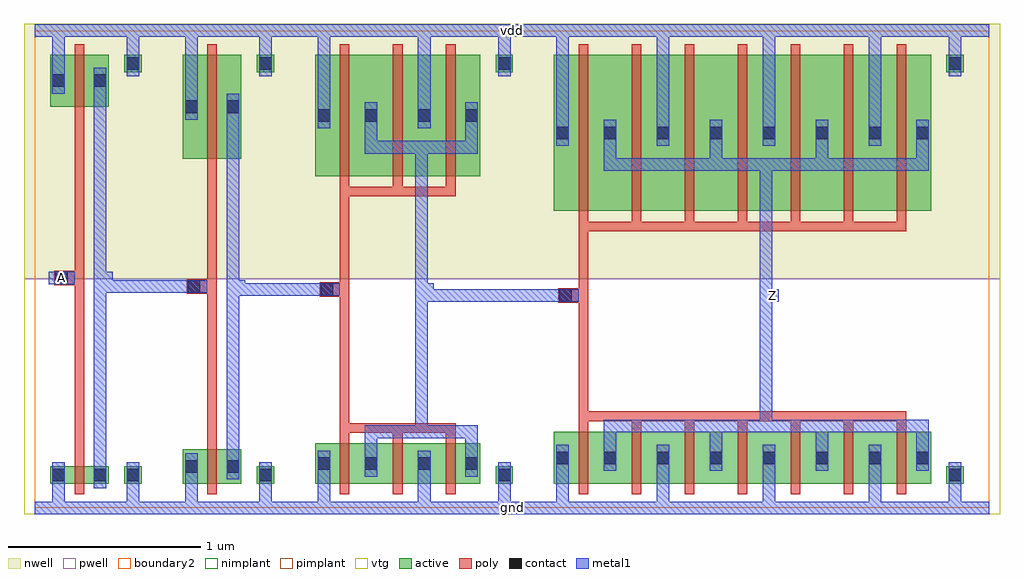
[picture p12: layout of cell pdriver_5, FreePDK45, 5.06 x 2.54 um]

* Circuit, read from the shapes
.subckt pdriver_5 A Z gnd vdd
M1 pinv_13_1/A A gnd gnd nfet w=0.09u l=0.05u
M2 pinv_14_2/A pinv_13_1/A gnd gnd nfet w=0.18u l=0.05u
M3 pinv_15_3/A pinv_14_2/A gnd gnd nfet w=0.21u l=0.05u m=3
M4 Z pinv_15_3/A gnd gnd nfet w=0.27u l=0.05u m=7
M5 pinv_13_1/A A vdd vdd pfet w=0.27u l=0.05u
M6 pinv_14_2/A pinv_13_1/A vdd vdd pfet w=0.54u l=0.05u
M7 pinv_15_3/A pinv_14_2/A vdd vdd pfet w=0.63u l=0.05u m=3
M8 Z pinv_15_3/A vdd vdd pfet w=0.81u l=0.05u m=7
.ends

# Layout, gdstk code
import gdstk
lib = gdstk.Library(unit=1e-6, precision=5e-10)
def R(c, l, rs):  # rectangles x0, y0, x1, y1
    for r in rs: c.add(gdstk.rectangle(r[:2], r[2:], *l))
def A(c, l, x, y, w, h, nx, ny, dx, dy):  # array of equal rectangles
    R(c, l, [(x+i*dx, y+j*dy, x+i*dx+w, y+j*dy+h) for i in range(nx) for j in range(ny)])
active = (1, 0)
pwell = (2, 0)
nwell = (3, 0)
nimplant = (4, 0)
pimplant = (5, 0)
vtg = (6, 0)
poly = (9, 0)
contact = (10, 0)
metal1 = (11, 0)
boundary2 = (239, 0)

contact_10 = lib.new_cell('contact_10')
R(contact_10, active, [(0,0.0225,0.09,0.1125)])
R(contact_10, nwell, [(-0.055,-0.0325,0.145,0.1675)])
R(contact_10, pimplant, [(0,0.0225,0.09,0.1125)])
R(contact_10, contact, [(0.0125,0.035,0.0775,0.1)])
R(contact_10, metal1, [(0.0125,0,0.0775,0.135)])
R(contact_10, boundary2, [(-0.055,-0.0325,0.145,0.1675)])

pmos_m1_w0_270_sm1_dm1_d = lib.new_cell('pmos_m1_w0_270_sm1_dm1_da_p')
R(pmos_m1_w0_270_sm1_dm1_d, active, [(0,0,0.305,0.27)])
R(pmos_m1_w0_270_sm1_dm1_d, nwell, [(-0.08,-0.08,0.385,0.35)])
R(pmos_m1_w0_270_sm1_dm1_d, pimplant, [(0,0,0.305,0.27)])
R(pmos_m1_w0_270_sm1_dm1_d, vtg, [(-0.08,-0.08,0.385,0.35)])
R(pmos_m1_w0_270_sm1_dm1_d, poly, [(0.1275,-0.055,0.1775,0.325), (0.1275,-0.055,0.1775,0.325)])
R(pmos_m1_w0_270_sm1_dm1_d, metal1, [(0.0125,0.0675,0.0775,0.2025), (0.2275,0.0675,0.2925,0.2025)])
R(pmos_m1_w0_270_sm1_dm1_d, boundary2, [(-0.08,-0.08,0.385,0.35)])
pmos_m1_w0_270_sm1_dm1_d.add(gdstk.Reference(contact_10, (0,0.0675)))
pmos_m1_w0_270_sm1_dm1_d.add(gdstk.Reference(contact_10, (0.215,0.0675)))
pmos_m1_w0_270_sm1_dm1_d.add(gdstk.Label('S', (0.045,0.135), layer=11, texttype=0))
pmos_m1_w0_270_sm1_dm1_d.add(gdstk.Label('D', (0.26,0.135), layer=11, texttype=0))
pmos_m1_w0_270_sm1_dm1_d.add(gdstk.Label('G', (0.1525,0.135), layer=9, texttype=0))

contact_9 = lib.new_cell('contact_9')
R(contact_9, active, [(0,0.0225,0.09,0.1125)])
R(contact_9, pwell, [(-0.055,-0.0325,0.145,0.1675)])
R(contact_9, nimplant, [(0,0.0225,0.09,0.1125)])
R(contact_9, contact, [(0.0125,0.035,0.0775,0.1)])
R(contact_9, metal1, [(0.0125,0,0.0775,0.135)])
R(contact_9, boundary2, [(-0.055,-0.0325,0.145,0.1675)])

nmos_m1_w0_090_sm1_dm1_d = lib.new_cell('nmos_m1_w0_090_sm1_dm1_da_p')
R(nmos_m1_w0_090_sm1_dm1_d, active, [(0,0,0.305,0.09)])
R(nmos_m1_w0_090_sm1_dm1_d, pwell, [(-0.08,-0.08,0.385,0.17)])
R(nmos_m1_w0_090_sm1_dm1_d, nimplant, [(0,0,0.305,0.09)])
R(nmos_m1_w0_090_sm1_dm1_d, vtg, [(-0.08,-0.08,0.385,0.17)])
R(nmos_m1_w0_090_sm1_dm1_d, poly, [(0.1275,-0.055,0.1775,0.145), (0.1275,-0.055,0.1775,0.145)])
R(nmos_m1_w0_090_sm1_dm1_d, metal1, [(0.0125,-0.0225,0.0775,0.1125), (0.2275,-0.0225,0.2925,0.1125)])
R(nmos_m1_w0_090_sm1_dm1_d, boundary2, [(-0.08,-0.08,0.385,0.17)])
nmos_m1_w0_090_sm1_dm1_d.add(gdstk.Reference(contact_9, (0,-0.0225)))
nmos_m1_w0_090_sm1_dm1_d.add(gdstk.Reference(contact_9, (0.215,-0.0225)))
nmos_m1_w0_090_sm1_dm1_d.add(gdstk.Label('S', (0.045,0.045), layer=11, texttype=0))
nmos_m1_w0_090_sm1_dm1_d.add(gdstk.Label('D', (0.26,0.045), layer=11, texttype=0))
nmos_m1_w0_090_sm1_dm1_d.add(gdstk.Label('G', (0.1525,0.045), layer=9, texttype=0))

contact_11 = lib.new_cell('contact_11')
R(contact_11, active, [(0,0.0225,0.09,0.1125)])
R(contact_11, nwell, [(-0.055,-0.0325,0.145,0.1675)])
R(contact_11, nimplant, [(0,0.0225,0.09,0.1125)])
R(contact_11, contact, [(0.0125,0.035,0.0775,0.1)])
R(contact_11, metal1, [(0.0125,0,0.0775,0.135)])
R(contact_11, boundary2, [(-0.055,-0.0325,0.145,0.1675)])

contact_12 = lib.new_cell('contact_12')
R(contact_12, active, [(0,0.0225,0.09,0.1125)])
R(contact_12, pwell, [(-0.055,-0.0325,0.145,0.1675)])
R(contact_12, pimplant, [(0,0.0225,0.09,0.1125)])
R(contact_12, contact, [(0.0125,0.035,0.0775,0.1)])
R(contact_12, metal1, [(0.0125,0,0.0775,0.135)])
R(contact_12, boundary2, [(-0.055,-0.0325,0.145,0.1675)])

contact_13 = lib.new_cell('contact_13')
R(contact_13, poly, [(0.03,0,0.105,0.075)])
R(contact_13, contact, [(0.035,0.005,0.1,0.07)])
R(contact_13, metal1, [(0,0.005,0.135,0.07)])
R(contact_13, boundary2, [(0,0,0.135,0.075)])

pinv_1 = lib.new_cell('pinv_1')
R(pinv_1, pwell, [(-0.055,-0.0325,0.7425,1.1875)])
R(pinv_1, nwell, [(-0.055,1.1875,0.7425,2.51)])
R(pinv_1, vtg, [(-0.055,-0.0325,0.7425,1.1875), (-0.055,1.1875,0.7425,2.51)])
R(pinv_1, poly, [(0.2075,0.27,0.2575,2.025), (0.14,1.155,0.2075,1.23)])
R(pinv_1, metal1, [(0,-0.0325,0.6875,0.0325), (0.0925,-0.0325,0.1575,0.1025), (0.4775,0,0.5425,0.17), (0.3075,0.1025,0.3725,2.2825), (0.0725,1.16,0.2075,1.225), (0.34,1.16,0.405,1.225), (0.0925,2.1475,0.1575,2.5075), (0.4775,2.305,0.5425,2.475), (0,2.4425,0.6875,2.5075)])
R(pinv_1, boundary2, [(0,0,0.6875,2.475), (0,0,0.6875,2.475)])
pinv_1.add(gdstk.Reference(pmos_m1_w0_270_sm1_dm1_d, (0.08,2.08)))
pinv_1.add(gdstk.Reference(nmos_m1_w0_090_sm1_dm1_d, (0.08,0.125)))
pinv_1.add(gdstk.Reference(contact_11, (0.465,2.2375)))
pinv_1.add(gdstk.Reference(contact_12, (0.465,0.1025)))
pinv_1.add(gdstk.Reference(contact_13, (0.0725,1.155)))
pinv_1.add(gdstk.Label('A', (0.14,1.1925), layer=11, texttype=0))
pinv_1.add(gdstk.Label('Z', (0.3725,1.1925), layer=11, texttype=0))
pinv_1.add(gdstk.Label('gnd', (0.344,0), layer=11, texttype=0))
pinv_1.add(gdstk.Label('vdd', (0.344,2.475), layer=11, texttype=0))

pmos_m1_w0_540_sm1_dm1_d = lib.new_cell('pmos_m1_w0_540_sm1_dm1_da_p')
R(pmos_m1_w0_540_sm1_dm1_d, active, [(0,0,0.305,0.54)])
R(pmos_m1_w0_540_sm1_dm1_d, nwell, [(-0.08,-0.08,0.385,0.62)])
R(pmos_m1_w0_540_sm1_dm1_d, pimplant, [(0,0,0.305,0.54)])
R(pmos_m1_w0_540_sm1_dm1_d, vtg, [(-0.08,-0.08,0.385,0.62)])
R(pmos_m1_w0_540_sm1_dm1_d, poly, [(0.1275,-0.055,0.1775,0.595), (0.1275,-0.055,0.1775,0.595)])
R(pmos_m1_w0_540_sm1_dm1_d, metal1, [(0.0125,0.2025,0.0775,0.3375), (0.2275,0.2025,0.2925,0.3375)])
R(pmos_m1_w0_540_sm1_dm1_d, boundary2, [(-0.08,-0.08,0.385,0.62)])
pmos_m1_w0_540_sm1_dm1_d.add(gdstk.Reference(contact_10, (0,0.2025)))
pmos_m1_w0_540_sm1_dm1_d.add(gdstk.Reference(contact_10, (0.215,0.2025)))
pmos_m1_w0_540_sm1_dm1_d.add(gdstk.Label('S', (0.045,0.27), layer=11, texttype=0))
pmos_m1_w0_540_sm1_dm1_d.add(gdstk.Label('D', (0.26,0.27), layer=11, texttype=0))
pmos_m1_w0_540_sm1_dm1_d.add(gdstk.Label('G', (0.1525,0.27), layer=9, texttype=0))

nmos_m1_w0_180_sm1_dm1_d = lib.new_cell('nmos_m1_w0_180_sm1_dm1_da_p')
R(nmos_m1_w0_180_sm1_dm1_d, active, [(0,0,0.305,0.18)])
R(nmos_m1_w0_180_sm1_dm1_d, pwell, [(-0.08,-0.08,0.385,0.26)])
R(nmos_m1_w0_180_sm1_dm1_d, nimplant, [(0,0,0.305,0.18)])
R(nmos_m1_w0_180_sm1_dm1_d, vtg, [(-0.08,-0.08,0.385,0.26)])
R(nmos_m1_w0_180_sm1_dm1_d, poly, [(0.1275,-0.055,0.1775,0.235), (0.1275,-0.055,0.1775,0.235)])
R(nmos_m1_w0_180_sm1_dm1_d, metal1, [(0.0125,0.0225,0.0775,0.1575), (0.2275,0.0225,0.2925,0.1575)])
R(nmos_m1_w0_180_sm1_dm1_d, boundary2, [(-0.08,-0.08,0.385,0.26)])
nmos_m1_w0_180_sm1_dm1_d.add(gdstk.Reference(contact_9, (0,0.0225)))
nmos_m1_w0_180_sm1_dm1_d.add(gdstk.Reference(contact_9, (0.215,0.0225)))
nmos_m1_w0_180_sm1_dm1_d.add(gdstk.Label('S', (0.045,0.09), layer=11, texttype=0))
nmos_m1_w0_180_sm1_dm1_d.add(gdstk.Label('D', (0.26,0.09), layer=11, texttype=0))
nmos_m1_w0_180_sm1_dm1_d.add(gdstk.Label('G', (0.1525,0.09), layer=9, texttype=0))

pinv_13 = lib.new_cell('pinv_13')
R(pinv_13, pwell, [(-0.055,-0.0325,0.7425,1.1875)])
R(pinv_13, nwell, [(-0.055,1.1875,0.7425,2.51)])
R(pinv_13, vtg, [(-0.055,-0.0325,0.7425,1.1875), (-0.055,1.1875,0.7425,2.51)])
R(pinv_13, poly, [(0.2075,0.36,0.2575,1.755), (0.14,1.11,0.2075,1.185)])
R(pinv_13, metal1, [(0,-0.0325,0.6875,0.0325), (0.0925,-0.0325,0.1575,0.1475), (0.4775,0,0.5425,0.17), (0.3075,0.1475,0.3725,2.1475), (0.0725,1.115,0.2075,1.18), (0.34,1.115,0.405,1.18), (0.0925,2.0125,0.1575,2.5075), (0.4775,2.305,0.5425,2.475), (0,2.4425,0.6875,2.5075)])
R(pinv_13, boundary2, [(0,0,0.6875,2.475), (0,0,0.6875,2.475)])
pinv_13.add(gdstk.Reference(pmos_m1_w0_540_sm1_dm1_d, (0.08,1.81)))
pinv_13.add(gdstk.Reference(nmos_m1_w0_180_sm1_dm1_d, (0.08,0.125)))
pinv_13.add(gdstk.Reference(contact_11, (0.465,2.2375)))
pinv_13.add(gdstk.Reference(contact_12, (0.465,0.1025)))
pinv_13.add(gdstk.Reference(contact_13, (0.0725,1.11)))
pinv_13.add(gdstk.Label('A', (0.14,1.1475), layer=11, texttype=0))
pinv_13.add(gdstk.Label('Z', (0.3725,1.1475), layer=11, texttype=0))
pinv_13.add(gdstk.Label('gnd', (0.344,0), layer=11, texttype=0))
pinv_13.add(gdstk.Label('vdd', (0.344,2.475), layer=11, texttype=0))

pmos_m3_w0_630_sm1_dm1_d = lib.new_cell('pmos_m3_w0_630_sm1_dm1_da_p')
R(pmos_m3_w0_630_sm1_dm1_d, active, [(0,0,0.855,0.63)])
R(pmos_m3_w0_630_sm1_dm1_d, nwell, [(-0.08,-0.08,0.935,0.71)])
R(pmos_m3_w0_630_sm1_dm1_d, pimplant, [(0,0,0.855,0.63)])
R(pmos_m3_w0_630_sm1_dm1_d, vtg, [(-0.08,-0.08,0.935,0.71)])
A(pmos_m3_w0_630_sm1_dm1_d, poly, 0.1275, -0.055, 0.05, 0.74, 3, 1, 0.275, 0)
R(pmos_m3_w0_630_sm1_dm1_d, poly, [(0.1275,-0.105,0.7275,-0.055)])
R(pmos_m3_w0_630_sm1_dm1_d, metal1, [(0.2575,0.1175,0.8425,0.1825), (0.2575,0.15,0.3225,0.315), (0.7775,0.15,0.8425,0.315), (0.0125,0.2475,0.0775,0.3825), (0.5325,0.2475,0.5975,0.3825)])
R(pmos_m3_w0_630_sm1_dm1_d, boundary2, [(-0.08,-0.105,0.935,0.71)])
pmos_m3_w0_630_sm1_dm1_d.add(gdstk.Reference(contact_10, (0,0.2475)))
pmos_m3_w0_630_sm1_dm1_d.add(gdstk.Reference(contact_10, (0.245,0.2475)))
pmos_m3_w0_630_sm1_dm1_d.add(gdstk.Reference(contact_10, (0.52,0.2475)))
pmos_m3_w0_630_sm1_dm1_d.add(gdstk.Reference(contact_10, (0.765,0.2475)))
pmos_m3_w0_630_sm1_dm1_d.add(gdstk.Label('S', (0.045,0.315), layer=11, texttype=0))
pmos_m3_w0_630_sm1_dm1_d.add(gdstk.Label('S', (0.565,0.315), layer=11, texttype=0))
pmos_m3_w0_630_sm1_dm1_d.add(gdstk.Label('D', (0.55,0.15), layer=11, texttype=0))
pmos_m3_w0_630_sm1_dm1_d.add(gdstk.Label('G', (0.4275,-0.08), layer=9, texttype=0))

nmos_m3_w0_210_sm1_dm1_d = lib.new_cell('nmos_m3_w0_210_sm1_dm1_da_p')
R(nmos_m3_w0_210_sm1_dm1_d, active, [(0,0,0.855,0.21)])
R(nmos_m3_w0_210_sm1_dm1_d, pwell, [(-0.08,-0.08,0.935,0.29)])
R(nmos_m3_w0_210_sm1_dm1_d, nimplant, [(0,0,0.855,0.21)])
R(nmos_m3_w0_210_sm1_dm1_d, vtg, [(-0.08,-0.08,0.935,0.29)])
A(nmos_m3_w0_210_sm1_dm1_d, poly, 0.1275, -0.055, 0.05, 0.32, 3, 1, 0.275, 0)
R(nmos_m3_w0_210_sm1_dm1_d, poly, [(0.1275,0.265,0.7275,0.315)])
R(nmos_m3_w0_210_sm1_dm1_d, metal1, [(0.0125,0.0375,0.0775,0.1725), (0.5325,0.0375,0.5975,0.1725), (0.2575,0.105,0.3225,0.27), (0.7775,0.105,0.8425,0.27), (0.2575,0.2375,0.8425,0.3025)])
R(nmos_m3_w0_210_sm1_dm1_d, boundary2, [(-0.08,-0.08,0.935,0.315)])
nmos_m3_w0_210_sm1_dm1_d.add(gdstk.Reference(contact_9, (0,0.0375)))
nmos_m3_w0_210_sm1_dm1_d.add(gdstk.Reference(contact_9, (0.245,0.0375)))
nmos_m3_w0_210_sm1_dm1_d.add(gdstk.Reference(contact_9, (0.52,0.0375)))
nmos_m3_w0_210_sm1_dm1_d.add(gdstk.Reference(contact_9, (0.765,0.0375)))
nmos_m3_w0_210_sm1_dm1_d.add(gdstk.Label('S', (0.045,0.105), layer=11, texttype=0))
nmos_m3_w0_210_sm1_dm1_d.add(gdstk.Label('S', (0.565,0.105), layer=11, texttype=0))
nmos_m3_w0_210_sm1_dm1_d.add(gdstk.Label('D', (0.55,0.27), layer=11, texttype=0))
nmos_m3_w0_210_sm1_dm1_d.add(gdstk.Label('G', (0.4275,0.29), layer=9, texttype=0))

pinv_14 = lib.new_cell('pinv_14')
R(pinv_14, pwell, [(-0.055,-0.0325,1.2925,1.1875)])
R(pinv_14, nwell, [(-0.055,1.1875,1.2925,2.51)])
R(pinv_14, vtg, [(-0.055,-0.0325,1.2925,1.1875), (-0.055,1.1875,1.2925,2.51)])
R(pinv_14, poly, [(0.2075,0.44,0.2575,1.615), (0.14,1.095,0.2075,1.17)])
R(pinv_14, metal1, [(0,-0.0325,1.2375,0.0325), (0.0925,-0.0325,0.1575,0.1625), (0.6125,-0.0325,0.6775,0.1625), (1.0275,0,1.0925,0.17), (0.5975,0.3625,0.6625,1.9025), (0.0725,1.1,0.2075,1.165), (0.63,1.1,0.695,1.165), (0.0925,1.9675,0.1575,2.5075), (0.6125,1.9675,0.6775,2.5075), (1.0275,2.305,1.0925,2.475), (0,2.4425,1.2375,2.5075)])
R(pinv_14, boundary2, [(0,0,1.2375,2.475), (0,0,1.2375,2.475)])
pinv_14.add(gdstk.Reference(pmos_m3_w0_630_sm1_dm1_d, (0.08,1.72)))
pinv_14.add(gdstk.Reference(nmos_m3_w0_210_sm1_dm1_d, (0.08,0.125)))
pinv_14.add(gdstk.Reference(contact_11, (1.015,2.2375)))
pinv_14.add(gdstk.Reference(contact_12, (1.015,0.1025)))
pinv_14.add(gdstk.Reference(contact_13, (0.0725,1.095)))
pinv_14.add(gdstk.Label('A', (0.14,1.1325), layer=11, texttype=0))
pinv_14.add(gdstk.Label('Z', (0.6625,1.1325), layer=11, texttype=0))
pinv_14.add(gdstk.Label('gnd', (0.619,0), layer=11, texttype=0))
pinv_14.add(gdstk.Label('vdd', (0.619,2.475), layer=11, texttype=0))

pmos_m7_w0_810_sm1_dm1_d = lib.new_cell('pmos_m7_w0_810_sm1_dm1_da_p')
R(pmos_m7_w0_810_sm1_dm1_d, active, [(0,0,1.955,0.81)])
R(pmos_m7_w0_810_sm1_dm1_d, nwell, [(-0.08,-0.08,2.035,0.89)])
R(pmos_m7_w0_810_sm1_dm1_d, pimplant, [(0,0,1.955,0.81)])
R(pmos_m7_w0_810_sm1_dm1_d, vtg, [(-0.08,-0.08,2.035,0.89)])
A(pmos_m7_w0_810_sm1_dm1_d, poly, 0.1275, -0.055, 0.05, 0.92, 7, 1, 0.275, 0)
R(pmos_m7_w0_810_sm1_dm1_d, poly, [(0.1275,-0.105,1.8275,-0.055)])
A(pmos_m7_w0_810_sm1_dm1_d, metal1, 0.2575, 0.24, 0.065, 0.165, 3, 1, 0.55, 0)
A(pmos_m7_w0_810_sm1_dm1_d, metal1, 0.5325, 0.3375, 0.065, 0.135, 3, 1, 0.55, 0)
R(pmos_m7_w0_810_sm1_dm1_d, metal1, [(0.2575,0.2075,1.9425,0.2725), (1.8775,0.24,1.9425,0.405), (0.0125,0.3375,0.0775,0.4725)])
R(pmos_m7_w0_810_sm1_dm1_d, boundary2, [(-0.08,-0.105,2.035,0.89)])
pmos_m7_w0_810_sm1_dm1_d.add(gdstk.Reference(contact_10, (0,0.3375)))
pmos_m7_w0_810_sm1_dm1_d.add(gdstk.Reference(contact_10, (0.245,0.3375)))
pmos_m7_w0_810_sm1_dm1_d.add(gdstk.Reference(contact_10, (0.52,0.3375)))
pmos_m7_w0_810_sm1_dm1_d.add(gdstk.Reference(contact_10, (0.795,0.3375)))
pmos_m7_w0_810_sm1_dm1_d.add(gdstk.Reference(contact_10, (1.07,0.3375)))
pmos_m7_w0_810_sm1_dm1_d.add(gdstk.Reference(contact_10, (1.345,0.3375)))
pmos_m7_w0_810_sm1_dm1_d.add(gdstk.Reference(contact_10, (1.62,0.3375)))
pmos_m7_w0_810_sm1_dm1_d.add(gdstk.Reference(contact_10, (1.865,0.3375)))
pmos_m7_w0_810_sm1_dm1_d.add(gdstk.Label('S', (1.115,0.405), layer=11, texttype=0))
pmos_m7_w0_810_sm1_dm1_d.add(gdstk.Label('S', (0.565,0.405), layer=11, texttype=0))
pmos_m7_w0_810_sm1_dm1_d.add(gdstk.Label('S', (0.045,0.405), layer=11, texttype=0))
pmos_m7_w0_810_sm1_dm1_d.add(gdstk.Label('S', (1.665,0.405), layer=11, texttype=0))
pmos_m7_w0_810_sm1_dm1_d.add(gdstk.Label('D', (1.1,0.24), layer=11, texttype=0))
pmos_m7_w0_810_sm1_dm1_d.add(gdstk.Label('G', (0.9775,-0.08), layer=9, texttype=0))

nmos_m7_w0_270_sm1_dm1_d = lib.new_cell('nmos_m7_w0_270_sm1_dm1_da_p')
R(nmos_m7_w0_270_sm1_dm1_d, active, [(0,0,1.955,0.27)])
R(nmos_m7_w0_270_sm1_dm1_d, pwell, [(-0.08,-0.08,2.035,0.35)])
R(nmos_m7_w0_270_sm1_dm1_d, nimplant, [(0,0,1.955,0.27)])
R(nmos_m7_w0_270_sm1_dm1_d, vtg, [(-0.08,-0.08,2.035,0.35)])
A(nmos_m7_w0_270_sm1_dm1_d, poly, 0.1275, -0.055, 0.05, 0.38, 7, 1, 0.275, 0)
R(nmos_m7_w0_270_sm1_dm1_d, poly, [(0.1275,0.325,1.8275,0.375)])
A(nmos_m7_w0_270_sm1_dm1_d, metal1, 0.5325, 0.0675, 0.065, 0.135, 3, 1, 0.55, 0)
A(nmos_m7_w0_270_sm1_dm1_d, metal1, 0.2575, 0.135, 0.065, 0.165, 3, 1, 0.55, 0)
R(nmos_m7_w0_270_sm1_dm1_d, metal1, [(0.0125,0.0675,0.0775,0.2025), (1.8775,0.135,1.9425,0.3), (0.2575,0.2675,1.9425,0.3325)])
R(nmos_m7_w0_270_sm1_dm1_d, boundary2, [(-0.08,-0.08,2.035,0.375)])
nmos_m7_w0_270_sm1_dm1_d.add(gdstk.Reference(contact_9, (0,0.0675)))
nmos_m7_w0_270_sm1_dm1_d.add(gdstk.Reference(contact_9, (0.245,0.0675)))
nmos_m7_w0_270_sm1_dm1_d.add(gdstk.Reference(contact_9, (0.52,0.0675)))
nmos_m7_w0_270_sm1_dm1_d.add(gdstk.Reference(contact_9, (0.795,0.0675)))
nmos_m7_w0_270_sm1_dm1_d.add(gdstk.Reference(contact_9, (1.07,0.0675)))
nmos_m7_w0_270_sm1_dm1_d.add(gdstk.Reference(contact_9, (1.345,0.0675)))
nmos_m7_w0_270_sm1_dm1_d.add(gdstk.Reference(contact_9, (1.62,0.0675)))
nmos_m7_w0_270_sm1_dm1_d.add(gdstk.Reference(contact_9, (1.865,0.0675)))
nmos_m7_w0_270_sm1_dm1_d.add(gdstk.Label('S', (1.115,0.135), layer=11, texttype=0))
nmos_m7_w0_270_sm1_dm1_d.add(gdstk.Label('S', (0.045,0.135), layer=11, texttype=0))
nmos_m7_w0_270_sm1_dm1_d.add(gdstk.Label('S', (1.665,0.135), layer=11, texttype=0))
nmos_m7_w0_270_sm1_dm1_d.add(gdstk.Label('S', (0.565,0.135), layer=11, texttype=0))
nmos_m7_w0_270_sm1_dm1_d.add(gdstk.Label('D', (1.1,0.3), layer=11, texttype=0))
nmos_m7_w0_270_sm1_dm1_d.add(gdstk.Label('G', (0.9775,0.35), layer=9, texttype=0))

pinv_15 = lib.new_cell('pinv_15')
R(pinv_15, pwell, [(-0.055,-0.0325,2.3925,1.1875)])
R(pinv_15, nwell, [(-0.055,1.1875,2.3925,2.51)])
R(pinv_15, vtg, [(-0.055,-0.0325,2.3925,1.1875), (-0.055,1.1875,2.3925,2.51)])
R(pinv_15, poly, [(0.2075,0.5,0.2575,1.435), (0.14,1.065,0.2075,1.14)])
A(pinv_15, metal1, 0.6125, -0.0325, 0.065, 0.225, 3, 1, 0.55, 0)
A(pinv_15, metal1, 0.6125, 1.8775, 0.065, 0.63, 3, 1, 0.55, 0)
R(pinv_15, metal1, [(0,-0.0325,2.3375,0.0325), (0.0925,-0.0325,0.1575,0.1925), (2.1275,0,2.1925,0.17), (1.1475,0.3925,1.2125,1.8125), (0.0725,1.07,0.2075,1.135), (1.18,1.07,1.245,1.135), (0.0925,1.8775,0.1575,2.5075), (2.1275,2.305,2.1925,2.475), (0,2.4425,2.3375,2.5075)])
R(pinv_15, boundary2, [(0,0,2.3375,2.475), (0,0,2.3375,2.475)])
pinv_15.add(gdstk.Reference(pmos_m7_w0_810_sm1_dm1_d, (0.08,1.54)))
pinv_15.add(gdstk.Reference(nmos_m7_w0_270_sm1_dm1_d, (0.08,0.125)))
pinv_15.add(gdstk.Reference(contact_11, (2.115,2.2375)))
pinv_15.add(gdstk.Reference(contact_12, (2.115,0.1025)))
pinv_15.add(gdstk.Reference(contact_13, (0.0725,1.065)))
pinv_15.add(gdstk.Label('A', (0.14,1.1025), layer=11, texttype=0))
pinv_15.add(gdstk.Label('Z', (1.2125,1.1025), layer=11, texttype=0))
pinv_15.add(gdstk.Label('gnd', (1.169,0), layer=11, texttype=0))
pinv_15.add(gdstk.Label('vdd', (1.169,2.475), layer=11, texttype=0))

pdriver_5 = lib.new_cell('pdriver_5')
R(pdriver_5, pwell, [(-0.055,-0.0325,5.005,1.1875)])
R(pdriver_5, nwell, [(-0.055,1.1875,5.005,2.51)])
R(pdriver_5, vtg, [(-0.055,-0.0325,5.005,1.1875), (-0.055,1.1875,5.005,2.51)])
R(pdriver_5, metal1, [(0,-0.0325,4.95,0.0325), (2.005,1.07,2.07,1.135), (2.0375,1.07,2.7525,1.135), (3.7925,1.07,3.8575,1.135), (1.0275,1.1,1.0925,1.165), (1.06,1.1,1.515,1.165), (2.005,1.1025,2.07,1.1325), (0.34,1.115,0.405,1.18), (0.3725,1.115,0.8275,1.18), (1.0275,1.1325,1.0925,1.1475), (0.34,1.1475,0.405,1.1925), (0.0725,1.16,0.2075,1.225), (0,2.4425,4.95,2.5075)])
R(pdriver_5, boundary2, [(0,0,4.95,2.475), (0,0,4.95,2.475)])
pdriver_5.add(gdstk.Reference(pinv_1, (0,0)))
pdriver_5.add(gdstk.Reference(pinv_13, (0.6875,0)))
pdriver_5.add(gdstk.Reference(pinv_14, (1.375,0)))
pdriver_5.add(gdstk.Reference(pinv_15, (2.6125,0)))
pdriver_5.add(gdstk.Label('Z', (3.825,1.1025), layer=11, texttype=0))
pdriver_5.add(gdstk.Label('A', (0.14,1.1925), layer=11, texttype=0))
pdriver_5.add(gdstk.Label('gnd', (2.475,0), layer=11, texttype=0))
pdriver_5.add(gdstk.Label('vdd', (2.475,2.475), layer=11, texttype=0))

lib.write_gds('pdriver_5.gds')
